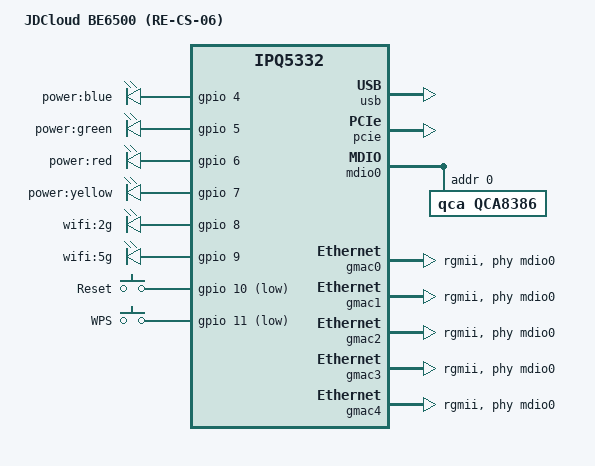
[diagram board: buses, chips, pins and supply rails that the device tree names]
/*
 * Copyright (C) 2023 OpenWrt.org
 *
 * This program is free software; you can redistribute it and/or modify
 * it under the terms of the GNU General Public License version 2 as
 * published by the Free Software Foundation.
 *
 * Device Tree Source for JDCloud BE6500 (RE-CS-06) router
 */

/dts-v1/;
#include <dt-bindings/gpio/gpio.h>
#include <dt-bindings/input/input.h>
#include "qcom-ipq5332.dtsi"

/ {
    model = "JDCloud BE6500 (RE-CS-06)";
    compatible = "qcom,ipq5332-be6500", "qcom,ipq5332";

    aliases {
        led-boot = &led_power_blue;
        led-failsafe = &led_power_red;
        led-running = &led_power_green;
        led-upgrade = &led_power_yellow;
    };

    chosen {
        bootargs = "console=ttyMSM0,115200n8 earlyprintk";
    };

    leds {
        compatible = "gpio-leds";

        led_power_blue: power-blue {
            label = "power:blue";
            gpios = <&gpio 4 GPIO_ACTIVE_HIGH>;
            default-state = "off";
        };

        led_power_green: power-green {
            label = "power:green";
            gpios = <&gpio 5 GPIO_ACTIVE_HIGH>;
            default-state = "off";
        };

        led_power_red: power-red {
            label = "power:red";
            gpios = <&gpio 6 GPIO_ACTIVE_HIGH>;
            default-state = "off";
        };

        led_power_yellow: power-yellow {
            label = "power:yellow";
            gpios = <&gpio 7 GPIO_ACTIVE_HIGH>;
            default-state = "off";
        };

        led_wifi_2g: wifi-2g {
            label = "wifi:2g";
            gpios = <&gpio 8 GPIO_ACTIVE_HIGH>;
            default-state = "off";
        };

        led_wifi_5g: wifi-5g {
            label = "wifi:5g";
            gpios = <&gpio 9 GPIO_ACTIVE_HIGH>;
            default-state = "off";
        };
    };

    buttons {
        compatible = "gpio-keys";
        #address-cells = <1>;
        #size-cells = <0>;

        reset {
            label = "Reset";
            gpios = <&gpio 10 GPIO_ACTIVE_LOW>;
            linux,code = <KEY_RESTART>;
            debounce-interval = <200>;
        };

        wps {
            label = "WPS";
            gpios = <&gpio 11 GPIO_ACTIVE_LOW>;
            linux,code = <KEY_WPS_BUTTON>;
            debounce-interval = <200>;
        };
    };
};

&usb {
    status = "okay";
};

&pcie {
    status = "okay";
};

&mdio0 {
    qca8386@0 {
        compatible = "qca,qca8386";
        reg = <0>;
        qca,switch-mode = <2>;
        qca,led-mode = <0>;
        qca,link-monitor = <1>;
        qca,port-config = <0 0 0 0 0>;
        qca,port-status = <0 0 0 0 0>;
        qca,port-vlan = <0 0 0 0 0>;
        qca,port-pvid = <1 1 1 1 1>;
        qca,port-rate = <0 0 0 0 0>;
        qca,port-stp = <0 0 0 0 0>;
        qca,port-allowed = <0x1F 0x1F 0x1F 0x1F 0x1F>;
        qca,port-untagged = <0x01 0x02 0x04 0x08 0x10>;
        qca,port-mtu = <9216 9216 9216 9216 9216>;
        qca,port-speed = <0 0 0 0 0>;
        qca,port-duplex = <0 0 0 0 0>;
        qca,port-flow = <0 0 0 0 0>;
        qca,port-priority = <0 0 0 0 0>;
        qca,port-vlan-tagged = <0 0 0 0 0>;
        qca,port-vlan-id = <1 1 1 1 1>;
        qca,port-mirror = <0 0 0 0 0>;
        qca,port-isolate = <0 0 0 0 0>;
        qca,port-mtu-limit = <0 0 0 0 0>;
        qca,port-eee = <0 0 0 0 0>;
        qca,port-pause = <0 0 0 0 0>;
        qca,port-tx-pause = <0 0 0 0 0>;
        qca,port-rx-pause = <0 0 0 0 0>;
        qca,port-promisc = <0 0 0 0 0>;
        qca,port-multicast = <0 0 0 0 0>;
        qca,port-broadcast = <0 0 0 0 0>;
        qca,port-forward = <0 0 0 0 0>;
        qca,port-drop = <0 0 0 0 0>;
        qca,port-stats = <0 0 0 0 0>;
        qca,port-rx-error = <0 0 0 0 0>;
        qca,port-tx-error = <0 0 0 0 0>;
        qca,port-rx-packet = <0 0 0 0 0>;
        qca,port-tx-packet = <0 0 0 0 0>;
        qca,port-rx-byte = <0 0 0 0 0>;
        qca,port-tx-byte = <0 0 0 0 0>;
        qca,port-rx-broadcast = <0 0 0 0 0>;
        qca,port-tx-broadcast = <0 0 0 0 0>;
        qca,port-rx-multicast = <0 0 0 0 0>;
        qca,port-tx-multicast = <0 0 0 0 0>;
        qca,port-rx-unicast = <0 0 0 0 0>;
        qca,port-tx-unicast = <0 0 0 0 0>;
        qca,port-rx-pause-frame = <0 0 0 0 0>;
        qca,port-tx-pause-frame = <0 0 0 0 0>;
        qca,port-rx-oversize = <0 0 0 0 0>;
        qca,port-rx-fcs-error = <0 0 0 0 0>;
        qca,port-rx-length-error = <0 0 0 0 0>;
        qca,port-rx-align-error = <0 0 0 0 0>;
        qca,port-rx-jabber = <0 0 0 0 0>;
        qca,port-rx-undersize = <0 0 0 0 0>;
        qca,port-rx-fragment = <0 0 0 0 0>;
        qca,port-rx-error-packet = <0 0 0 0 0>;
        qca,port-tx-error-packet = <0 0 0 0 0>;
        qca,port-rx-control = <0 0 0 0 0>;
        qca,port-tx-control = <0 0 0 0 0>;
        qca,port-rx-pri0 = <0 0 0 0 0>;
        qca,port-rx-pri1 = <0 0 0 0 0>;
        qca,port-rx-pri2 = <0 0 0 0 0>;
        qca,port-rx-pri3 = <0 0 0 0 0>;
        qca,port-rx-pri4 = <0 0 0 0 0>;
        qca,port-rx-pri5 = <0 0 0 0 0>;
        qca,port-rx-pri6 = <0 0 0 0 0>;
        qca,port-rx-pri7 = <0 0 0 0 0>;
        qca,port-tx-pri0 = <0 0 0 0 0>;
        qca,port-tx-pri1 = <0 0 0 0 0>;
        qca,port-tx-pri2 = <0 0 0 0 0>;
        qca,port-tx-pri3 = <0 0 0 0 0>;
        qca,port-tx-pri4 = <0 0 0 0 0>;
        qca,port-tx-pri5 = <0 0 0 0 0>;
        qca,port-tx-pri6 = <0 0 0 0 0>;
        qca,port-tx-pri7 = <0 0 0 0 0>;
    };
};

&gmac0 {
    status = "okay";
    qca,eth-mac = [00 00 00 00 00 00];
    phy-handle = <&mdio0 0>;
    phy-mode = "rgmii";
    qca,rxq-split = <1>;
    qca,txq-limit = <1024>;
    qca,rxq-limit = <1024>;
};

&gmac1 {
    status = "okay";
    qca,eth-mac = [00 00 00 00 00 01];
    phy-handle = <&mdio0 1>;
    phy-mode = "rgmii";
    qca,rxq-split = <1>;
    qca,txq-limit = <1024>;
    qca,rxq-limit = <1024>;
};

&gmac2 {
    status = "okay";
    qca,eth-mac = [00 00 00 00 00 02];
    phy-handle = <&mdio0 2>;
    phy-mode = "rgmii";
    qca,rxq-split = <1>;
    qca,txq-limit = <1024>;
    qca,rxq-limit = <1024>;
};

&gmac3 {
    status = "okay";
    qca,eth-mac = [00 00 00 00 00 03];
    phy-handle = <&mdio0 3>;
    phy-mode = "rgmii";
    qca,rxq-split = <1>;
    qca,txq-limit = <1024>;
    qca,rxq-limit = <1024>;
};

&gmac4 {
    status = "okay";
    qca,eth-mac = [00 00 00 00 00 04];
    phy-handle = <&mdio0 4>;
    phy-mode = "rgmii";
    qca,rxq-split = <1>;
    qca,txq-limit = <1024>;
    qca,rxq-limit = <1024>;
};
